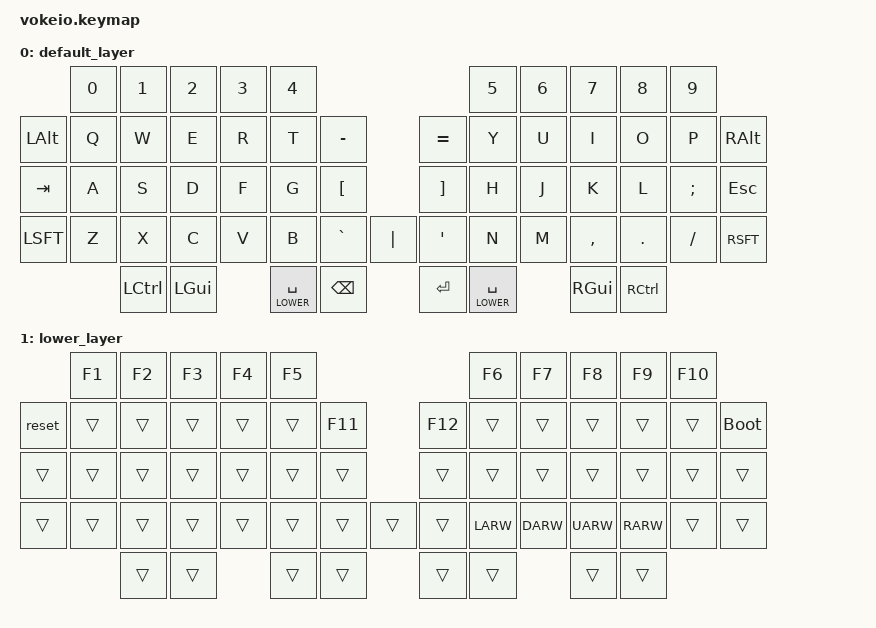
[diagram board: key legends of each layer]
#include <behaviors.dtsi>
#include <dt-bindings/zmk/keys.h>

#define DEFAULT   0
#define LOWER     1

/ {
	
	keymap {
		compatible = "zmk,keymap";

		default_layer {
            bindings = <
			
            &kp NUM_0    &kp NUM_1    &kp NUM_2    &kp NUM_3    &kp NUM_4                                        &kp NUM_5            &kp NUM_6    &kp NUM_7    &kp NUM_8    &kp NUM_9    
&kp LALT    &kp Q        &kp W        &kp E        &kp R        &kp T            &kp MINUS               &kp EQL     &kp Y            &kp U        &kp I        &kp O        &kp P        &kp RALT
&kp TAB     &kp A        &kp S        &kp D        &kp F        &kp G            &kp LBKT                &kp RBKT    &kp H            &kp J        &kp K        &kp L        &kp SCLN     &kp ESC
&kp LSFT    &kp Z        &kp X        &kp C        &kp V        &kp B            &kp GRAV    &kp PIPE    &kp QUOT    &kp N            &kp M        &kp CMMA     &kp DOT      &kp FSLH     &kp RSFT
                         &kp LCTL     &kp LGUI                  &lt LOWER SPC    &kp BKSP                &kp RET     &lt LOWER SPC                 &kp RGUI     &kp RCTL

			>;
		};

		lower_layer {
            bindings = <

          &kp F1    &kp F2    &kp F3    &kp F4    &kp F5                                     &kp F6      &kp F7      &kp F8      &kp F9      &kp F10    
&reset    &trans    &trans    &trans    &trans    &trans    &kp F11               &kp F12    &trans      &trans      &trans      &trans      &trans     &bootloader
&trans    &trans    &trans    &trans    &trans    &trans    &trans                &trans     &trans      &trans      &trans      &trans      &trans     &trans
&trans    &trans    &trans    &trans    &trans    &trans    &trans     &trans     &trans     &kp LARW    &kp DARW    &kp UARW    &kp RARW    &trans     &trans
		            &trans    &trans              &trans    &trans                &trans     &trans                  &trans      &trans      

			>;
		};
		
	};	

};


